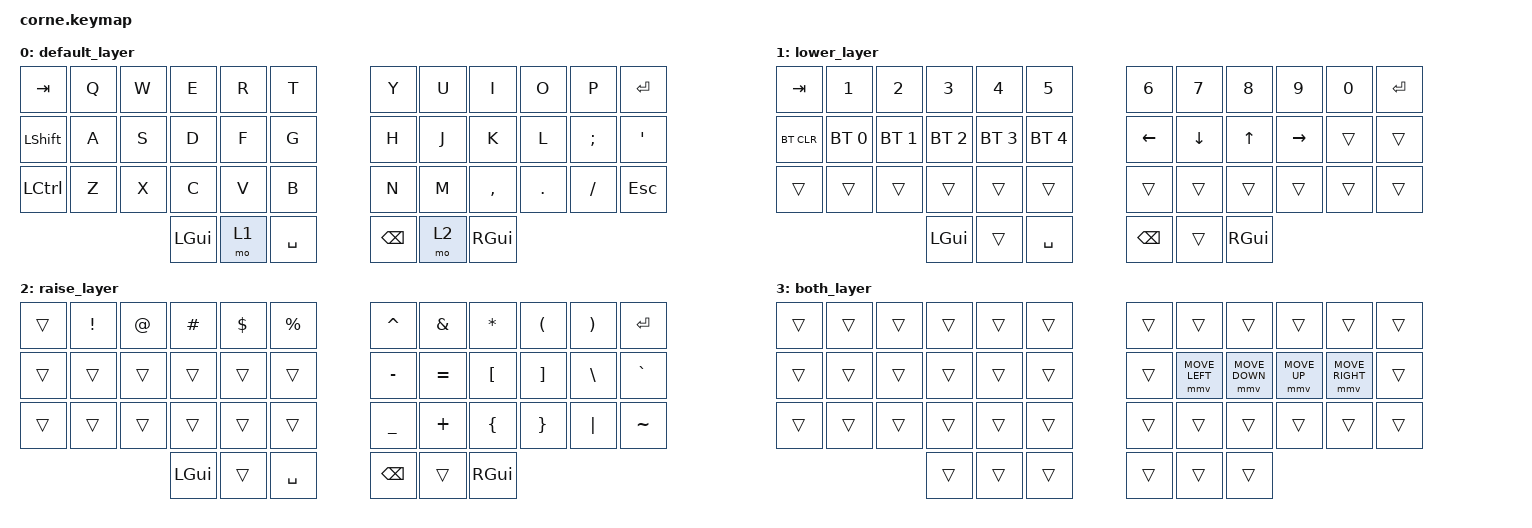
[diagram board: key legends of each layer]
/*
 * Copyright (c) 2020 The ZMK Contributors
 *
 * SPDX-License-Identifier: MIT
 */

#include <behaviors.dtsi>
#include <dt-bindings/zmk/bt.h>
#include <dt-bindings/zmk/keys.h>
#include <dt-bindings/zmk/pointing.h>

/ {
    keymap {
        compatible = "zmk,keymap";

        default_layer {
            // -----------------------------------------------------------------------------------------
            // |  TAB |  Q  |  W  |  E  |  R  |  T  |   |  Y  |  U   |  I  |  O  |  P  | BSPC |
            // | CTRL |  A  |  S  |  D  |  F  |  G  |   |  H  |  J   |  K  |  L  |  ;  |  '   |
            // | SHFT |  Z  |  X  |  C  |  V  |  B  |   |  N  |  M   |  ,  |  .  |  /  | ESC  |
            //                    | GUI | LWR | SPC |   | ENT | RSE  | ALT |

            bindings = <
&kp TAB           &kp Q  &kp W  &kp E     &kp R  &kp T        &kp Y     &kp U  &kp I          &kp O    &kp P     &kp RET
&kp LEFT_SHIFT    &kp A  &kp S  &kp D     &kp F  &kp G        &kp H     &kp J  &kp K          &kp L    &kp SEMI  &kp SQT
&kp LEFT_CONTROL  &kp Z  &kp X  &kp C     &kp V  &kp B        &kp N     &kp M  &kp COMMA      &kp DOT  &kp FSLH  &kp ESC
                                &kp LGUI  &mo 1  &kp SPACE    &kp BSPC  &mo 2  &kp RIGHT_GUI
            >;
        };

        lower_layer {
            // -----------------------------------------------------------------------------------------
            // |  TAB |  1  |  2  |  3  |  4  |  5  |   |  6  |  7  |  8  |  9  |  0  | BSPC |
            // | BTCLR| BT1 | BT2 | BT3 | BT4 | BT5 |   | LFT | DWN |  UP | RGT |     |      |
            // | SHFT |     |     |     |     |     |   |     |     |     |     |     |      |
            //                    | GUI |     | SPC |   | ENT |     | ALT |

            bindings = <
&kp TAB     &kp N1        &kp N2        &kp N3        &kp N4        &kp N5          &kp N6         &kp N7    &kp N8         &kp N9     &kp N0  &kp ENTER
&bt BT_CLR  &bt BT_SEL 0  &bt BT_SEL 1  &bt BT_SEL 2  &bt BT_SEL 3  &bt BT_SEL 4    &kp LEFT       &kp DOWN  &kp UP         &kp RIGHT  &trans  &trans
&trans      &trans        &trans        &trans        &trans        &trans          &trans         &trans    &trans         &trans     &trans  &trans
                                        &kp LGUI      &trans        &kp SPACE       &kp BACKSPACE  &trans    &kp RIGHT_GUI
            >;
        };

        raise_layer {
            // -----------------------------------------------------------------------------------------
            // |  TAB |  !  |  @  |  #  |  $  |  %  |   |  ^  |  &  |  *  |  (  |  )  | BSPC |
            // | CTRL |     |     |     |     |     |   |  -  |  =  |  [  |  ]  |  \  |  `   |
            // | SHFT |     |     |     |     |     |   |  _  |  +  |  {  |  }  | "|" |  ~   |
            //                    | GUI |     | SPC |   | ENT |     | ALT |

            bindings = <
&trans  &kp EXCL  &kp AT  &kp HASH  &kp DLLR  &kp PRCNT    &kp CARET      &kp AMPS   &kp ASTRK      &kp LPAR  &kp RPAR  &kp ENTER
&trans  &trans    &trans  &trans    &trans    &trans       &kp MINUS      &kp EQUAL  &kp LBKT       &kp RBKT  &kp BSLH  &kp GRAVE
&trans  &trans    &trans  &trans    &trans    &trans       &kp UNDER      &kp PLUS   &kp LBRC       &kp RBRC  &kp PIPE  &kp TILDE
                          &kp LGUI  &trans    &kp SPACE    &kp BACKSPACE  &trans     &kp RIGHT_GUI
            >;
        };

        both_layer {
            bindings = <
&trans  &trans  &trans  &trans  &trans  &trans    &trans  &trans          &trans          &trans        &trans           &trans
&trans  &trans  &trans  &trans  &trans  &trans    &trans  &mmv MOVE_LEFT  &mmv MOVE_DOWN  &mmv MOVE_UP  &mmv MOVE_RIGHT  &trans
&trans  &trans  &trans  &trans  &trans  &trans    &trans  &trans          &trans          &trans        &trans           &trans
                        &trans  &trans  &trans    &trans  &trans          &trans
            >;
        };
    };

    conditional_layers {
        compatible = "zmk,conditional-layers";

        both_layer_condition {
            if-layers = <1 2>;
            then-layer = <3>;
        };
    };
};
